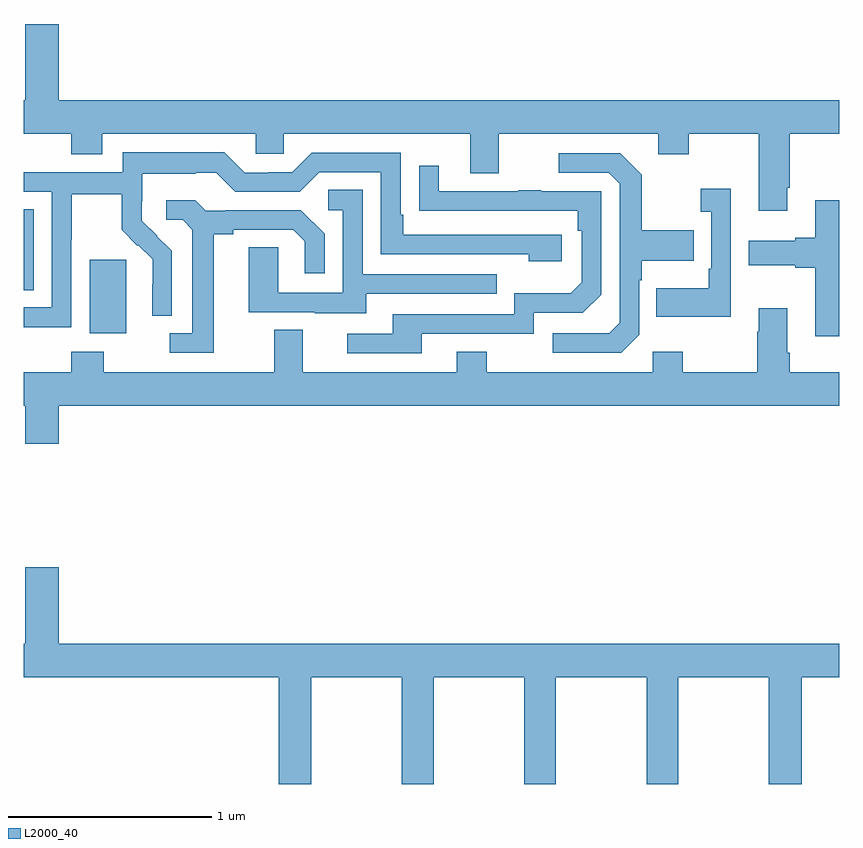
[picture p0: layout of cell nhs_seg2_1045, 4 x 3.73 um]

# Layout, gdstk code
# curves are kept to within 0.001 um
import gdstk
lib = gdstk.Library(unit=1e-6, precision=1e-09)
def R(c, l, rs):  # rectangles x0, y0, x1, y1
    for r in rs: c.add(gdstk.rectangle(r[:2], r[2:], *l))
def P(c, l, *ps):  # polygons
    for p in ps: c.add(gdstk.Polygon(p, *l))
L2000_40 = (2000, 40)

nhs_seg2_1045 = lib.new_cell('nhs_seg2_1045')
R(nhs_seg2_1045, L2000_40, [(165.323,628.01,165.502,628.371), (165,628.222,165.049,628.619)])
P(nhs_seg2_1045, L2000_40, [(168.745,628.723),(168.758,628.723),(168.758,628.988),(169,628.988),(169,629.152),(165.172,629.152),(165.172,629.527),(165.008,629.527),(165.008,629.152),(165,629.152),(165,628.988),(165.233,628.988),(165.233,628.889),(165.385,628.889),(165.385,628.988),(166.137,628.988),(166.137,628.89),(166.275,628.89),(166.275,628.988),(167.189,628.988),(167.189,628.794),(167.329,628.794),(167.329,628.988),(168.113,628.988),(168.113,628.889),(168.261,628.889),(168.261,628.988),(168.605,628.988),(168.605,628.611),(168.745,628.611)],
  [(165.234,628.468),(165.237,628.468),(165.237,628.692),(165.481,628.692),(165.481,628.517),(165.558,628.44),(165.561,628.443),(165.632,628.373),(165.632,628.25),(165.63,628.25),(165.63,628.096),(165.726,628.096),(165.726,628.414),(165.58,628.562),(165.58,628.659),(165.582,628.659),(165.582,628.793),(165.845,628.793),(165.845,628.797),(165.945,628.797),(166.038,628.704),(166.353,628.704),(166.449,628.8),(166.752,628.8),(166.752,628.398),(167.477,628.398),(167.477,628.364),(167.638,628.364),(167.638,628.494),(166.861,628.494),(166.861,628.591),(166.848,628.591),(166.848,628.896),(166.413,628.896),(166.317,628.8),(166.199,628.8),(166.199,628.797),(166.083,628.797),(165.983,628.897),(165.486,628.897),(165.486,628.8),(165,628.8),(165,628.704),(165.138,628.704),(165.138,628.137),(165,628.137),(165,628.039),(165.234,628.039)],
  [(168.018,628.002),(168.018,628.271),(168.031,628.271),(168.031,628.367),(168.287,628.367),(168.287,628.515),(168.031,628.515),(168.031,628.787),(167.925,628.893),(167.625,628.893),(167.625,628.797),(167.868,628.797),(167.922,628.743),(167.922,628.062),(167.871,628.011),(167.595,628.011),(167.595,627.915),(167.931,627.915)],
  [(166.951,628.008),(167.502,628.008),(167.502,628.11),(167.742,628.11),(167.832,628.2),(167.832,628.707),(167.537,628.707),(167.537,628.712),(167.425,628.712),(167.425,628.707),(167.035,628.707),(167.035,628.831),(166.939,628.831),(166.939,628.612),(167.716,628.611),(167.716,628.514),(167.736,628.514),(167.736,628.26),(167.683,628.207),(167.406,628.207),(167.406,628.104),(166.811,628.104),(166.811,628.008),(166.587,628.008),(166.587,627.912),(166.951,627.912)],
  [(168.468,628.72),(168.321,628.72),(168.321,628.607),(168.372,628.607),(168.372,628.327),(168.36,628.327),(168.36,628.231),(168.103,628.231),(168.103,628.091),(168.468,628.091)],
  [(166.681,628.203),(167.321,628.203),(167.321,628.299),(166.662,628.299),(166.662,628.715),(166.494,628.715),(166.494,628.614),(166.566,628.614),(166.566,628.209),(166.248,628.209),(166.248,628.433),(166.103,628.433),(166.103,628.113),(166.427,628.113),(166.427,628.109),(166.681,628.109)],
  [(165.931,628.496),(166.027,628.496),(166.027,628.518),(166.322,628.518),(166.379,628.461),(166.379,628.305),(166.476,628.305),(166.476,628.498),(166.36,628.614),(165.988,628.614),(165.988,628.611),(165.894,628.611),(165.842,628.663),(165.699,628.663),(165.699,628.566),(165.78,628.566),(165.827,628.519),(165.827,628.011),(165.717,628.011),(165.717,627.915),(165.931,627.915)],
  [(169,628.663),(168.881,628.663),(168.881,628.478),(168.785,628.478),(168.785,628.465),(168.555,628.465),(168.555,628.343),(168.785,628.343),(168.785,628.331),(168.881,628.331),(168.881,627.996),(169,627.996)],
  [(169,627.82),(168.758,627.82),(168.758,627.916),(168.745,627.916),(168.745,628.132),(168.605,628.132),(168.605,628.019),(168.598,628.019),(168.598,627.82),(168.231,627.82),(168.231,627.919),(168.084,627.919),(168.084,627.82),(167.271,627.82),(167.271,627.919),(167.123,627.919),(167.123,627.82),(166.369,627.82),(166.369,628.028),(166.229,628.028),(166.229,627.82),(165.393,627.82),(165.393,627.919),(165.233,627.919),(165.233,627.82),(165,627.82),(165,627.656),(165.008,627.656),(165.008,627.468),(165.172,627.468),(165.172,627.656),(169,627.656)],
  [(166.41,626.324),(166.855,626.324),(166.855,625.8),(167.01,625.8),(167.01,626.324),(167.455,626.324),(167.455,625.8),(167.61,625.8),(167.61,626.324),(168.055,626.324),(168.055,625.8),(168.21,625.8),(168.21,626.324),(168.655,626.324),(168.655,625.8),(168.815,625.8),(168.815,626.324),(169,626.324),(169,626.488),(165.172,626.488),(165.172,626.863),(165.008,626.863),(165.008,626.488),(165,626.488),(165,626.324),(166.25,626.324),(166.25,625.8),(166.41,625.8)])

lib.write_gds('nhs_seg2_1045.gds')
